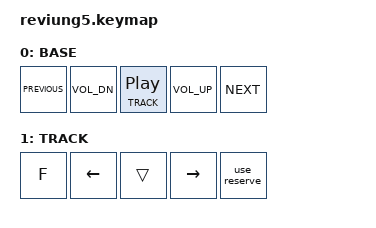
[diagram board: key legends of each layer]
#include <behaviors.dtsi>
#include <dt-bindings/zmk/keys.h>
#include <dt-bindings/zmk/bt.h>
#include <dt-bindings/zmk/outputs.h>
#include <dt-bindings/zmk/mouse.h>

#define BASE 0
#define TRACK 1

/ {

  macros {
    use_reserve: use_reserve {
        label = "ZM_use_reserve";
        compatible = "zmk,behavior-macro";
        #binding-cells = <0>;
        bindings
                = <&macro_tap &kp LC(C)>
                , <&macro_wait_time 100>
                , <&macro_tap &kp UP>
                , <&macro_wait_time 100>
                , <&macro_tap &kp LC(V)>
                , <&macro_wait_time 100>
                , <&macro_tap &kp LC(C)>
                , <&macro_wait_time 100>
                , <&macro_tap &kp LEFT &kp LEFT &kp LEFT &kp LEFT &kp LEFT>
                , <&macro_wait_time 100>
                , <&macro_tap &kp LC(LS(V))>
                , <&macro_wait_time 100>
                , <&macro_tap &kp LC(LS(R))>
                , <&macro_wait_time 100>
                , <&macro_tap &kp DOWN>
                , <&macro_wait_time 500>
                , <&macro_tap &kp LS(SPACE)>
                , <&macro_wait_time 500>
                , <&macro_tap &kp LC(KP_MINUS)>;
    };
  };

  keymap {
      compatible = "zmk,keymap";

      base_layer {
        label = "BASE";
        bindings = <
          // ╭────────────────┬──────────────┬────────────────────────┬──────────────┬────────────╮
               &kp C_PREVIOUS   &kp C_VOL_DN   &lt TRACK C_PLAY_PAUSE   &kp C_VOL_UP   &kp C_NEXT
          // ╰────────────────┴──────────────┴────────────────────────┴──────────────┴────────────╯
        >;
      };

      track_layer {
        label = "TRACK";
        bindings = <
          // ╭───────┬──────────┬────────┬───────────┬─────────╮
               &kp F   &kp LEFT   &trans   &kp RIGHT   &use_reserve
          // ╰───────┴──────────┴────────┴───────────┴─────────╯
        >;
      };
  };
};
